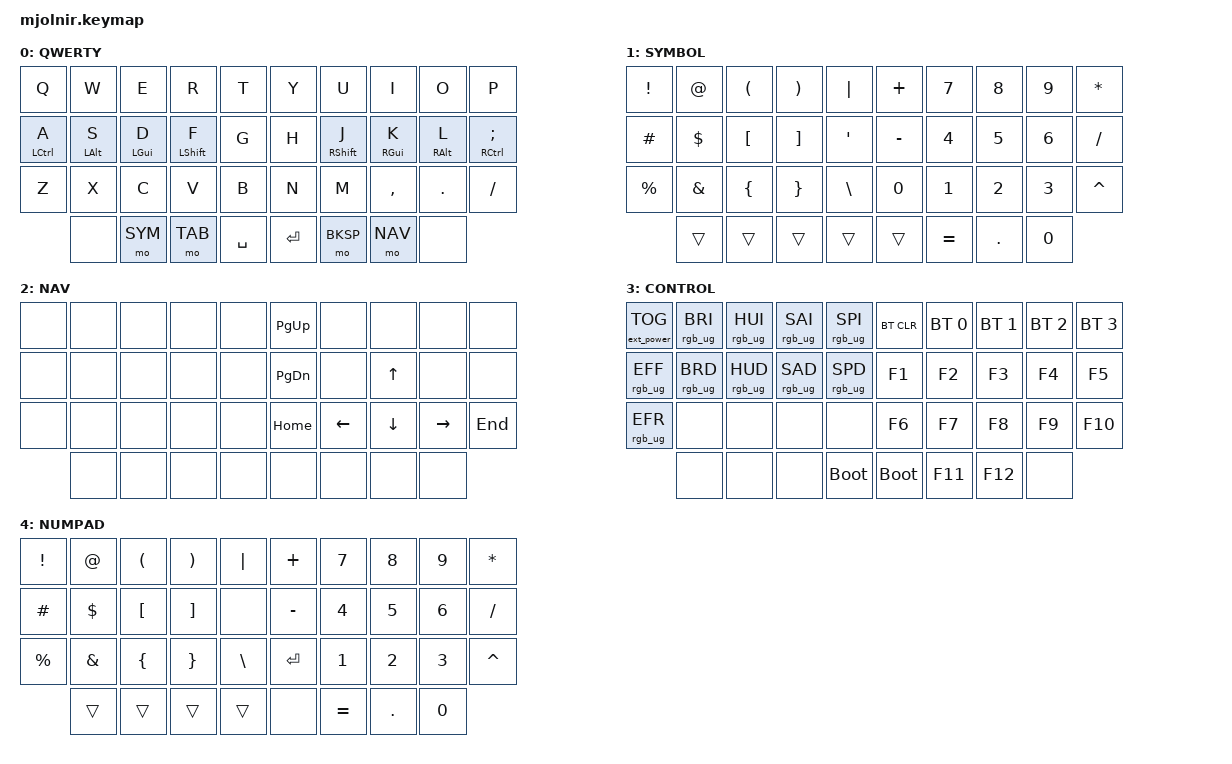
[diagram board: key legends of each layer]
#include <behaviors.dtsi>
#include <dt-bindings/zmk/keys.h>
#include <dt-bindings/zmk/bt.h>
#include <dt-bindings/zmk/rgb.h>
#include <dt-bindings/zmk/ext_power.h>
#include "mjolnir_keypos.h"

#define DEFAULT 0
#define SYM 1
#define NAV 2
#define CTRL 3
#define TIMEOUT 75
#define TAP_TERM 200

/ {
  chosen {
    zmk,matrix-transform = &default_transform;
  };
};

/ {
    combos {
        compatible = "zmk,combos";
        combo_back {
            timeout-ms = <TIMEOUT>;
            key-positions = <RT3 RM3>;
            bindings = <&kp BSPC>;
        };
        combo_esc {
            timeout-ms = <TIMEOUT>;
            key-positions = <LT3 LM3>;
            bindings = <&kp ESC>;
        };
        combo_grave {
            timeout-ms = <TIMEOUT>;
            key-positions = <LT4 LM4>;
            bindings = <&kp GRAVE>;
        };
        combo_space {
            timeout-ms = <TIMEOUT>;
            key-positions = <3 13>;
            bindings = <&kp SPACE>;
        };
        combo_enter {
            timeout-ms = <TIMEOUT>;
            key-positions = <6 16>;
            bindings = <&kp RET>;
        };
        combo_layer_sym_l {
            timeout-ms = <TIMEOUT>;
            key-positions = <LH1 LH2>;
            bindings = <&mo SYM>;
        };
        combo_layer_sym_r {
            timeout-ms = <TIMEOUT>;
            key-positions = <RH1 RH2>;
            bindings = <&mo SYM>;
        };
        combo_layer_nav_l {
            timeout-ms = <TIMEOUT>;
            key-positions = <LH2 LH3>;
            bindings = <&tog NAV>;
        };
        combo_layer_nav_r {
            timeout-ms = <TIMEOUT>;
            key-positions = <RH2 RH3>;
            bindings = <&tog NAV>;
        };
        combo_layer_control_l {
            timeout-ms = <TIMEOUT>;
            key-positions = <LH1 LH0>;
            bindings = <&tog CTRL>;
        };
        combo_layer_control_r {
            timeout-ms = <TIMEOUT>;
            key-positions = <RH1 RH0>;
            bindings = <&tog CTRL>;
        };
    };
};

/ {

  behaviors {
    hml: home_row_mod_left {
        compatible = "zmk,behavior-hold-tap";
        #binding-cells = <2>;
        flavor = "balanced";
        tapping-term-ms = <280>;
        quick-tap-ms = <175>;
        bindings = <&kp>, <&kp>;
        hold-trigger-key-positions = <KEYS_R THUMBS>;
        hold-trigger-on-release;  
    };
    hmr: home_row_mod_right {
        compatible = "zmk,behavior-hold-tap";
        #binding-cells = <2>;
        flavor = "balanced";
        tapping-term-ms = <280>;
        quick-tap-ms = <175>;
        bindings = <&kp>, <&kp>;
        hold-trigger-key-positions = <KEYS_L THUMBS>;
        hold-trigger-on-release;  
    };
    hmlc: home_row_mod_left_combo {
        compatible = "zmk,behavior-hold-tap";
        #binding-cells = <2>;
        flavor = "balanced";
        tapping-term-ms = <280>;
        quick-tap-ms = <175>;
        bindings = <&kp>, <&key_repeat>;
        hold-trigger-key-positions = <KEYS_R THUMBS>;
    hold-trigger-on-release;      
    };
  };

  // conditional_layers {
  //     compatible = "zmk,conditional-layers";
  //     tri_layer {
  //         if-layers = <NAV SYM>;
  //         then-layer = <CTRL>;
  //     };
  // };

  keymap {
    compatible = "zmk,keymap";

    default_layer {
      display-name = "QWERTY";
      bindings = <
        &kp Q           &kp W           &kp E         &kp R     &kp T               &kp Y       &kp U     &kp I         &kp O         &kp P    
        &hml LCTRL A    &hml LALT S     &hml LGUI D   &hml LSHIFT F     &kp G               &kp H       &hmr RSHIFT J     &hmr RGUI K   &hmr RALT L   &hmr RCTRL SEMI 
        &kp Z           &kp X           &kp C         &kp V     &kp B               &kp N       &kp M     &kp COMMA     &kp DOT       &kp FSLH 
                        &none           &mo SYM       &mo TAB   &kp SPACE           &kp RET   &mo BKSP   &mo NAV    &none
              >;
    };
    symbol_layer { 
      display-name = "SYMBOL";
      bindings = <
        &kp EXCL    &kp AT        &kp LPAR          &kp RPAR            &kp PIPE             &kp PLUS   &kp N7        &kp N8      &kp N9      &kp STAR    
        &kp HASH    &kp DLLR      &kp LBKT         &kp RBKT            &kp SINGLE_QUOTE             &kp MINUS  &kp N4        &kp N5      &kp N6      &kp SLASH 
        &kp PRCNT   &kp AMPS      &kp LBRC          &kp RBRC            &kp BACKSLASH             &kp N0     &kp N1        &kp N2      &kp N3      &kp CARET 
                    &trans        &trans  &trans   &trans               &trans    &kp EQUAL     &kp DOT     &kp N0
              >;
    };
    nav_layer {
      display-name = "NAV";
      bindings = <
        &none  &none  &none  &none  &none      &kp PAGE_UP  &none    &none    &none  &none
        &none  &none  &none  &none  &none      &kp PAGE_DOWN  &none    &kp UP    &none  &none
        &none  &none  &none  &none  &none      &kp HOME  &kp LEFT  &kp DOWN  &kp RIGHT  &kp END
                &none  &none  &none  &none      &none  &none    &none    &none 
                    >;
    };
    control_layer {
      display-name = "CONTROL";
      bindings = <
        &ext_power EP_TOG     &rgb_ug RGB_BRI     &rgb_ug RGB_HUI     &rgb_ug RGB_SAI     &rgb_ug RGB_SPI             &bt BT_CLR    &bt BT_SEL 0    &bt BT_SEL 1    &bt BT_SEL 2    &bt BT_SEL 3    
        &rgb_ug RGB_EFF       &rgb_ug RGB_BRD     &rgb_ug RGB_HUD     &rgb_ug RGB_SAD     &rgb_ug RGB_SPD             &kp F1        &kp F2          &kp F3          &kp F4          &kp F5
        &rgb_ug RGB_EFR       &none              &none              &none              &none                      &kp F6        &kp F7          &kp F8          &kp F9          &kp F10
                              &none              &none              &none              &bootloader                 &bootloader   &kp F11         &kp F12         &none     
              >;
    };
    numpad_layer { 
      display-name = "NUMPAD";
      bindings = <
        &kp EXCL    &kp AT        &kp LPAR          &kp RPAR            &kp PIPE              &kp PLUS    &kp N7        &kp N8      &kp N9      &kp STAR    
        &kp HASH    &kp DLLR      &kp LBKT         &kp RBKT             &none                 &kp MINUS   &kp N4        &kp N5      &kp N6      &kp SLASH 
        &kp PRCNT   &kp AMPS      &kp LBRC          &kp RBRC            &kp BACKSLASH         &kp RET      &kp N1        &kp N2      &kp N3      &kp CARET 
                    &trans        &trans  &trans   &trans                                     &none      &kp EQUAL     &kp DOT     &kp N0
              >;
    };
  };
};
